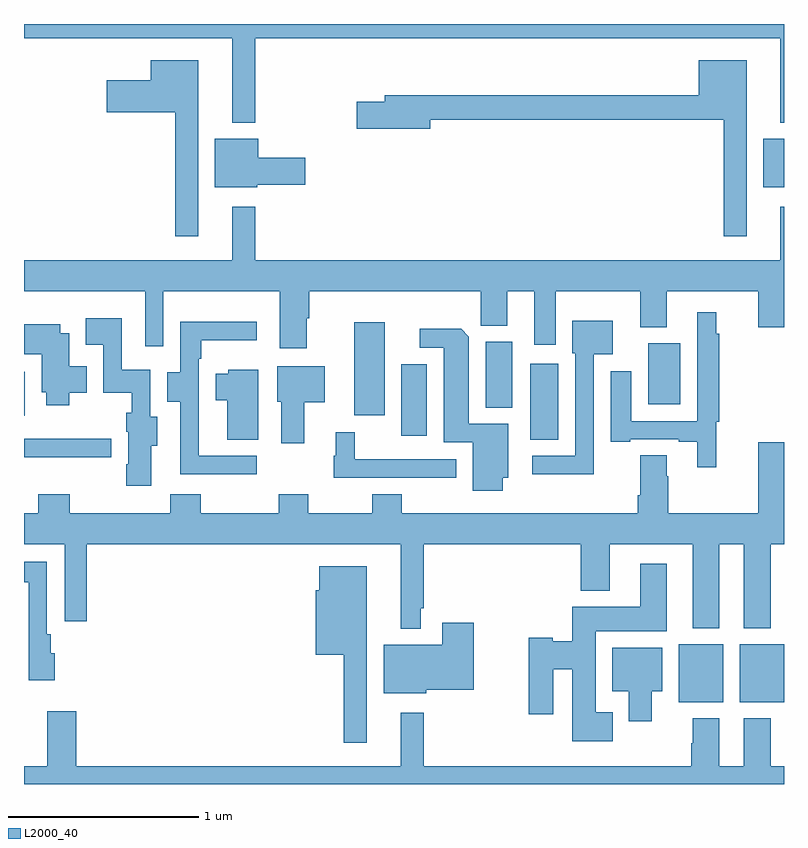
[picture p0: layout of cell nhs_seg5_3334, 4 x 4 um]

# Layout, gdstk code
import gdstk
lib = gdstk.Library(unit=1e-6, precision=1e-09)
def R(c, l, rs):  # rectangles x0, y0, x1, y1
    for r in rs: c.add(gdstk.rectangle(r[:2], r[2:], *l))
def P(c, l, *ps):  # polygons
    for p in ps: c.add(gdstk.Polygon(p, *l))
L2000_40 = (2000, 40)

nhs_seg5_3334 = lib.new_cell('nhs_seg5_3334')
R(nhs_seg5_3334, L2000_40, [(308.447,889.229,308.68,889.534), (308.768,889.229,309,889.534), (307.664,890.611,307.813,891.01), (306.986,890.631,307.12,891.007), (305,890.738,305.005,890.968), (306.737,890.739,306.898,891.229), (307.43,890.78,307.57,891.126), (308.285,890.798,308.455,891.118), (308.891,891.941,309,892.195)])
P(nhs_seg5_3334, L2000_40, [(306.217,892.724),(308.981,892.724),(308.981,892.28),(309,892.28),(309,892.799),(305,892.799),(305,892.724),(306.095,892.724),(306.095,892.28),(306.217,892.28)],
  [(305.917,892.609),(305.666,892.609),(305.666,892.504),(305.436,892.504),(305.436,892.334),(305.796,892.334),(305.796,891.681),(305.917,891.681)],
  [(308.803,892.609),(308.552,892.609),(308.552,892.423),(306.899,892.423),(306.899,892.389),(306.75,892.389),(306.75,892.247),(307.138,892.247),(307.138,892.294),(308.682,892.294),(308.682,891.681),(308.803,891.681)],
  [(306.228,891.952),(306.481,891.952),(306.481,892.094),(306.232,892.094),(306.232,892.195),(306.005,892.195),(306.005,891.941),(306.228,891.941)],
  [(306.487,891.251),(306.5,891.251),(306.5,891.392),(307.405,891.392),(307.405,891.211),(307.543,891.211),(307.543,891.392),(307.685,891.392),(307.685,891.111),(307.798,891.111),(307.798,891.392),(308.243,891.392),(308.243,891.203),(308.383,891.203),(308.383,891.392),(308.864,891.392),(308.864,891.204),(309,891.204),(309,891.838),(308.981,891.838),(308.981,891.556),(306.217,891.556),(306.217,891.838),(306.095,891.838),(306.095,891.556),(305,891.556),(305,891.392),(305.637,891.392),(305.637,891.102),(305.733,891.102),(305.733,891.392),(306.347,891.392),(306.347,891.093),(306.487,891.093)],
  [(308.643,890.706),(308.66,890.706),(308.66,891.17),(308.643,891.17),(308.643,891.283),(308.544,891.283),(308.544,890.709),(308.197,890.709),(308.197,890.971),(308.087,890.971),(308.087,890.601),(308.191,890.601),(308.191,890.613),(308.447,890.613),(308.447,890.601),(308.543,890.601),(308.543,890.466),(308.643,890.466)],
  [(305.671,890.578),(305.701,890.578),(305.701,890.733),(305.664,890.733),(305.664,890.98),(305.514,890.98),(305.514,891.25),(305.325,891.25),(305.325,891.11),(305.418,891.11),(305.418,890.858),(305.566,890.858),(305.566,890.754),(305.537,890.754),(305.537,890.654),(305.549,890.654),(305.549,890.482),(305.537,890.482),(305.537,890.37),(305.671,890.37)],
  [(307.998,891.062),(308.098,891.062),(308.098,891.238),(307.886,891.238),(307.886,891.066),(307.902,891.066),(307.902,890.526),(307.674,890.526),(307.674,890.429),(307.998,890.429)],
  [(306.226,890.526),(305.92,890.526),(305.92,890.723),(305.919,890.723),(305.919,891.038),(305.932,891.038),(305.932,891.134),(306.226,891.134),(306.226,891.232),(305.823,891.232),(305.823,890.967),(305.753,890.967),(305.753,890.812),(305.823,890.812),(305.823,890.43),(306.226,890.43)],
  [(305.239,890.858),(305.329,890.858),(305.329,890.998),(305.239,890.998),(305.239,891.172),(305.191,891.172),(305.191,891.22),(305,891.22),(305,891.062),(305.093,891.062),(305.093,890.862),(305.117,890.862),(305.117,890.792),(305.239,890.792)],
  [(307.519,890.411),(307.549,890.411),(307.549,890.694),(307.342,890.694),(307.342,891.152),(307.301,891.194),(307.083,891.194),(307.083,891.096),(307.208,891.096),(307.208,890.598),(307.361,890.598),(307.361,890.343),(307.519,890.343)],
  [(306.475,890.807),(306.583,890.807),(306.583,890.998),(306.332,890.998),(306.332,890.811),(306.353,890.811),(306.353,890.592),(306.475,890.592)],
  [(306.232,890.98),(306.075,890.98),(306.075,890.959),(306.008,890.959),(306.008,890.819),(306.071,890.819),(306.071,890.611),(306.232,890.611)],
  [(307.276,890.508),(306.741,890.508),(306.741,890.65),(306.641,890.65),(306.641,890.526),(306.63,890.526),(306.63,890.412),(307.276,890.412)],
  [(305.458,890.617),(305.101,890.617),(305.101,890.616),(305,890.616),(305,890.519),(305.458,890.519)],
  [(307.087,889.723),(307.105,889.723),(307.105,890.06),(307.931,890.06),(307.931,889.817),(308.083,889.817),(308.083,890.06),(308.519,890.06),(308.519,889.619),(308.659,889.619),(308.659,890.06),(308.789,890.06),(308.789,889.619),(308.929,889.619),(308.929,890.06),(309,890.06),(309,890.599),(308.864,890.599),(308.864,890.224),(308.391,890.224),(308.391,890.42),(308.383,890.42),(308.383,890.528),(308.243,890.528),(308.243,890.32),(308.231,890.32),(308.231,890.224),(306.987,890.224),(306.987,890.323),(306.832,890.323),(306.832,890.224),(306.495,890.224),(306.495,890.323),(306.34,890.323),(306.34,890.224),(305.931,890.224),(305.931,890.323),(305.771,890.323),(305.771,890.224),(305.24,890.224),(305.24,890.323),(305.075,890.323),(305.075,890.224),(305,890.224),(305,890.06),(305.214,890.06),(305.214,889.656),(305.33,889.656),(305.33,890.06),(306.983,890.06),(306.983,889.616),(307.087,889.616)],
  [(305.162,889.488),(305.141,889.488),(305.141,889.588),(305.121,889.588),(305.121,889.968),(305,889.968),(305,889.86),(305.025,889.86),(305.025,889.344),(305.162,889.344)],
  [(308.098,889.177),(308.008,889.177),(308.008,889.604),(308.383,889.604),(308.383,889.957),(308.243,889.957),(308.243,889.732),(307.886,889.732),(307.886,889.55),(307.782,889.55),(307.782,889.568),(307.657,889.568),(307.657,889.167),(307.786,889.167),(307.786,889.403),(307.886,889.403),(307.886,889.025),(308.098,889.025)],
  [(306.805,889.945),(306.554,889.945),(306.554,889.818),(306.536,889.818),(306.536,889.478),(306.684,889.478),(306.684,889.017),(306.805,889.017)],
  [(307.116,889.295),(307.368,889.295),(307.368,889.648),(307.202,889.648),(307.202,889.531),(306.893,889.531),(306.893,889.277),(307.116,889.277)],
  [(308.305,889.286),(308.359,889.286),(308.359,889.516),(308.096,889.516),(308.096,889.286),(308.183,889.286),(308.183,889.128),(308.305,889.128)],
  [(309,888.892),(308.929,888.892),(308.929,889.144),(308.789,889.144),(308.789,888.892),(308.659,888.892),(308.659,889.144),(308.519,889.144),(308.519,889.013),(308.512,889.013),(308.512,888.892),(307.105,888.892),(307.105,889.174),(306.983,889.174),(306.983,888.892),(305.276,888.892),(305.276,889.183),(305.123,889.183),(305.123,888.892),(305,888.892),(305,888.799),(309,888.799)])

lib.write_gds('nhs_seg5_3334.gds')
